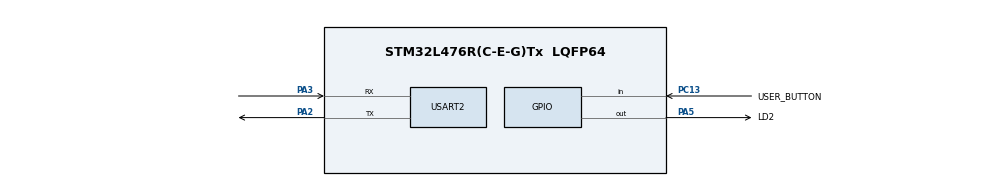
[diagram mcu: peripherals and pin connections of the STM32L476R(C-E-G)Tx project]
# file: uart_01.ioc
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Mcu.Family=STM32L4
Mcu.Name=STM32L476R(C-E-G)Tx
Mcu.Package=LQFP64
NVIC.PriorityGroup=NVIC_PRIORITYGROUP_4
PA13\ (JTMS-SWDIO).Mode=Serial_Wire
PA13\ (JTMS-SWDIO).Signal=SYS_JTMS-SWDIO
PA14\ (JTCK-SWCLK).Mode=Serial_Wire
PA14\ (JTCK-SWCLK).Signal=SYS_JTCK-SWCLK
PA2.Mode=Asynchronous
PA2.Signal=USART2_TX
PA3.Mode=Asynchronous
PA3.Signal=USART2_RX
PA5.GPIO_Label=LD2
PA5.Signal=GPIO_Output
PC13.GPIO_Label=USER_BUTTON
PC13.Signal=GPIO_Input
ProjectManager.HeapSize=0x200
ProjectManager.StackSize=0x400
ProjectManager.TargetToolchain=STM32CubeIDE
RCC.HSE_VALUE=8000000
RCC.HSI_VALUE=16000000
RCC.LSE_VALUE=32768
RCC.MSI_VALUE=4000000
RCC.VCOOutputFreq_Value=32000000
USART2.OverrunDisableParam=ADVFEATURE_OVERRUN_DISABLE
USART2.VirtualMode-Asynchronous=VM_ASYNC
board=custom

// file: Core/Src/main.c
/* USER CODE BEGIN Header */
/**
  ******************************************************************************
  * @file           : main.c
  * @brief          : Main program body
  ******************************************************************************
  * @attention
  *
  * <h2><center>&copy; Copyright (c) 2022 STMicroelectronics.
  * All rights reserved.</center></h2>
  *
  * This software component is licensed by ST under BSD 3-Clause license,
  * the "License"; You may not use this file except in compliance with the
  * License. You may obtain a copy of the License at:
  *                        opensource.org/licenses/BSD-3-Clause
  *
  ******************************************************************************
  */
/* USER CODE END Header */
#include "main.h"

/* USER CODE BEGIN Includes */
#include <string.h>
#include <stdio.h>
/* USER CODE END Includes */

/* USER CODE BEGIN PD */
#define LINE_MAX_LENGTH 80
/* USER CODE END PD */

UART_HandleTypeDef huart2;

/* USER CODE BEGIN PV */
static char line_buffer[LINE_MAX_LENGTH + 1];
static uint32_t line_length;
/* USER CODE END PV */

void SystemClock_Config(void);

static void MX_GPIO_Init(void);

static void MX_USART2_UART_Init(void);

/* USER CODE BEGIN PFP */
void line_append(uint8_t value);

uint8_t increment_val_and_resend(uint8_t value);
/* USER CODE END PFP */

int main(void)
{

    /* MCU Configuration--------------------------------------------------------*/

    /* Reset of all peripherals, Initializes the Flash interface and the Systick. */
    HAL_Init();

    /* Configure the system clock */
    SystemClock_Config();

    /* Initialize all configured peripherals */
    MX_GPIO_Init();
    MX_USART2_UART_Init();
    /* USER CODE BEGIN 2 */
    printf("Hello world!\n");

    uint8_t val_inc = 0;
    /* USER CODE END 2 */

    /* Infinite loop */
    while (1)
    {

        /* USER CODE BEGIN 3 */
        uint8_t value;
        if (HAL_UART_Receive(&huart2, &value, 1, 0) == HAL_OK)
        {
            line_append(value);
        }
        val_inc = increment_val_and_resend(val_inc);
    }
    /* USER CODE END 3 */
}

void SystemClock_Config(void)
{
    RCC_OscInitTypeDef RCC_OscInitStruct = {0};
    RCC_ClkInitTypeDef RCC_ClkInitStruct = {0};
    RCC_PeriphCLKInitTypeDef PeriphClkInit = {0};

    /** Initializes the RCC Oscillators according to the specified parameters
    * in the RCC_OscInitTypeDef structure.
    */
    RCC_OscInitStruct.OscillatorType = RCC_OSCILLATORTYPE_MSI;
    RCC_OscInitStruct.MSIState = RCC_MSI_ON;
    RCC_OscInitStruct.MSICalibrationValue = 0;
    RCC_OscInitStruct.MSIClockRange = RCC_MSIRANGE_6;
    RCC_OscInitStruct.PLL.PLLState = RCC_PLL_NONE;
    if (HAL_RCC_OscConfig(&RCC_OscInitStruct) != HAL_OK)
    {
        Error_Handler();
    }
    /** Initializes the CPU, AHB and APB buses clocks
    */
    RCC_ClkInitStruct.ClockType = RCC_CLOCKTYPE_HCLK | RCC_CLOCKTYPE_SYSCLK
                                  | RCC_CLOCKTYPE_PCLK1 | RCC_CLOCKTYPE_PCLK2;
    RCC_ClkInitStruct.SYSCLKSource = RCC_SYSCLKSOURCE_MSI;
    RCC_ClkInitStruct.AHBCLKDivider = RCC_SYSCLK_DIV1;
    RCC_ClkInitStruct.APB1CLKDivider = RCC_HCLK_DIV1;
    RCC_ClkInitStruct.APB2CLKDivider = RCC_HCLK_DIV1;

    if (HAL_RCC_ClockConfig(&RCC_ClkInitStruct, FLASH_LATENCY_0) != HAL_OK)
    {
        Error_Handler();
    }
    PeriphClkInit.PeriphClockSelection = RCC_PERIPHCLK_USART2;
    PeriphClkInit.Usart2ClockSelection = RCC_USART2CLKSOURCE_PCLK1;
    if (HAL_RCCEx_PeriphCLKConfig(&PeriphClkInit) != HAL_OK)
    {
        Error_Handler();
    }
    /** Configure the main internal regulator output voltage
    */
    if (HAL_PWREx_ControlVoltageScaling(PWR_REGULATOR_VOLTAGE_SCALE1) != HAL_OK)
    {
        Error_Handler();
    }
}

static void MX_USART2_UART_Init(void)
{

    huart2.Instance = USART2;
    huart2.Init.BaudRate = 115200;
    huart2.Init.WordLength = UART_WORDLENGTH_8B;
    huart2.Init.StopBits = UART_STOPBITS_1;
    huart2.Init.Parity = UART_PARITY_NONE;
    huart2.Init.Mode = UART_MODE_TX_RX;
    huart2.Init.HwFlowCtl = UART_HWCONTROL_NONE;
    huart2.Init.OverSampling = UART_OVERSAMPLING_16;
    huart2.Init.OneBitSampling = UART_ONE_BIT_SAMPLE_DISABLE;
    huart2.AdvancedInit.AdvFeatureInit = UART_ADVFEATURE_RXOVERRUNDISABLE_INIT;
    huart2.AdvancedInit.OverrunDisable = UART_ADVFEATURE_OVERRUN_DISABLE;
    if (HAL_UART_Init(&huart2) != HAL_OK)
    {
        Error_Handler();
    }

}

static void MX_GPIO_Init(void)
{
    GPIO_InitTypeDef GPIO_InitStruct = {0};

    /* GPIO Ports Clock Enable */
    __HAL_RCC_GPIOC_CLK_ENABLE();
    __HAL_RCC_GPIOA_CLK_ENABLE();

    /*Configure GPIO pin Output Level */
    HAL_GPIO_WritePin(LD2_GPIO_Port, LD2_Pin, GPIO_PIN_RESET);

    /*Configure GPIO pin : USER_BUTTON_Pin */
    GPIO_InitStruct.Pin = USER_BUTTON_Pin;
    GPIO_InitStruct.Mode = GPIO_MODE_INPUT;
    GPIO_InitStruct.Pull = GPIO_NOPULL;
    HAL_GPIO_Init(USER_BUTTON_GPIO_Port, &GPIO_InitStruct);

    /*Configure GPIO pin : LD2_Pin */
    GPIO_InitStruct.Pin = LD2_Pin;
    GPIO_InitStruct.Mode = GPIO_MODE_OUTPUT_PP;
    GPIO_InitStruct.Pull = GPIO_NOPULL;
    GPIO_InitStruct.Speed = GPIO_SPEED_FREQ_LOW;
    HAL_GPIO_Init(LD2_GPIO_Port, &GPIO_InitStruct);

}

/* USER CODE BEGIN 4 */
int __io_putchar(int ch)
{
    if (ch == '\n')
    {
        uint8_t ch2 = '\r';
        HAL_UART_Transmit(&huart2, &ch2, 1, HAL_MAX_DELAY);
    }

    HAL_UART_Transmit(&huart2, (uint8_t *) &ch, 1, HAL_MAX_DELAY);
    return 1;
}

void line_append(uint8_t value)
{
    if (value == '\r' || value == '\n')
    {
        // odebraliśmy znak końca linii
        if (line_length > 0)
        {
            // jeśli bufor nie jest pusty to dodajemy 0 na końcu linii
            line_buffer[line_length] = '\0';
            // przetwarzamy dane
            if (strcmp(line_buffer, "on") == 0)
            {
                HAL_GPIO_WritePin(LD2_GPIO_Port, LD2_Pin, GPIO_PIN_SET);
            }
            else if (strcmp(line_buffer, "off") == 0)
            {
                HAL_GPIO_WritePin(LD2_GPIO_Port, LD2_Pin, GPIO_PIN_RESET);
            }
            else
            {
                printf("Received unknown command: %s\n", line_buffer);
            }
            // zaczynamy zbieranie danych od nowa
            line_length = 0;
        }
    }
    else
    {
        if (line_length >= LINE_MAX_LENGTH)
        {
            // za dużo danych, usuwamy wszystko co odebraliśmy dotychczas
            line_length = 0;
        }
        // dopisujemy wartość do bufora
        line_buffer[line_length++] = value;
    }
}

uint8_t increment_val_and_resend(uint8_t value)
{
    if (HAL_GPIO_ReadPin(USER_BUTTON_GPIO_Port, USER_BUTTON_Pin) == GPIO_PIN_RESET)
    {
        value++;
        printf("Incremented value: %u\n", value);
        while(HAL_GPIO_ReadPin(USER_BUTTON_GPIO_Port, USER_BUTTON_Pin) == GPIO_PIN_RESET)
        {}
    }
    return value;
}
/* USER CODE END 4 */

    void Error_Handler(void)
    {
        __disable_irq();
        while (1)
        {
        }
    }

/************************ (C) COPYRIGHT STMicroelectronics *****END OF FILE****/
